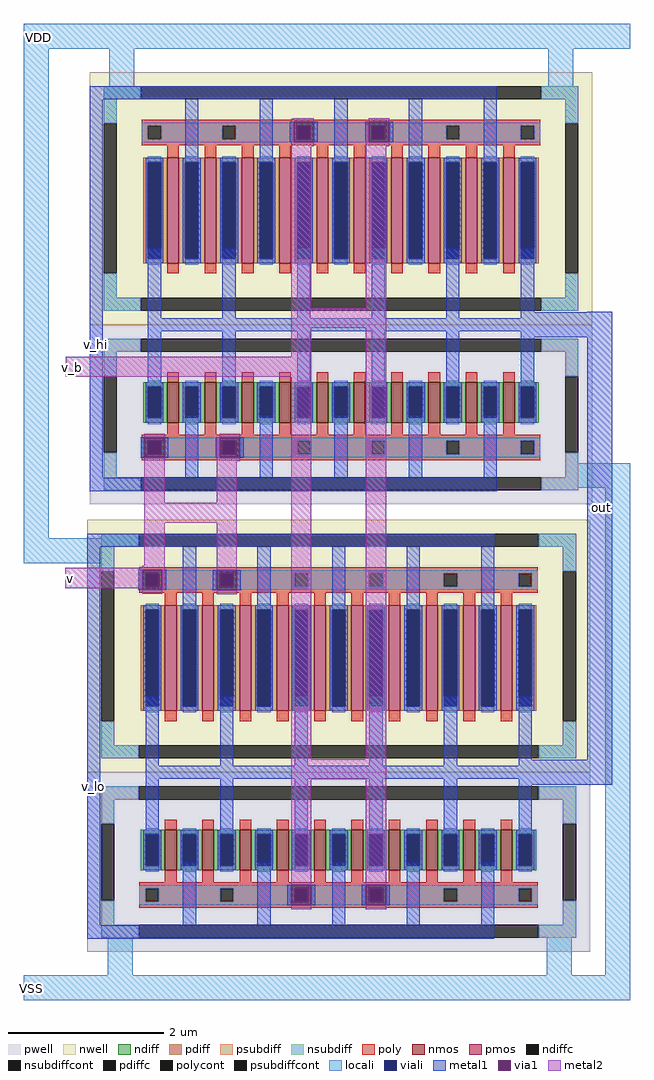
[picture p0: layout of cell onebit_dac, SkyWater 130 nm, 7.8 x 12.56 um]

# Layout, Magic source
magic
tech sky130A
magscale 1 2
<< locali >>
rect -6 1174 1554 1238
rect -6 -86 58 1174
rect 214 1056 278 1174
rect 1344 1048 1408 1174
rect 1390 44 1554 108
rect -6 -150 210 -86
rect 210 -1210 274 -1100
rect 1340 -1210 1404 -1090
rect 1490 -1210 1554 44
rect -6 -1274 1554 -1210
<< viali >>
rect 697 942 731 976
rect 889 942 923 976
rect 313 131 347 165
rect 505 131 539 165
rect 307 -210 341 -176
rect 499 -210 533 -176
rect 691 -1021 725 -987
rect 883 -1021 917 -987
<< metal1 >>
rect 163 36 197 1078
rect 678 934 688 986
rect 740 934 750 986
rect 872 934 882 986
rect 934 934 944 986
rect 1444 496 1508 498
rect 1292 432 1508 496
rect 294 122 304 174
rect 356 122 366 174
rect 488 122 498 174
rect 550 122 560 174
rect 157 -1116 191 -74
rect 288 -218 298 -166
rect 350 -218 360 -166
rect 480 -220 490 -168
rect 542 -220 552 -168
rect 1444 -656 1508 432
rect 1280 -720 1508 -656
rect 672 -1030 682 -978
rect 734 -1030 744 -978
rect 864 -1030 874 -978
rect 926 -1030 936 -978
<< via1 >>
rect 688 976 740 986
rect 688 942 697 976
rect 697 942 731 976
rect 731 942 740 976
rect 688 934 740 942
rect 882 976 934 986
rect 882 942 889 976
rect 889 942 923 976
rect 923 942 934 976
rect 882 934 934 942
rect 304 165 356 174
rect 304 131 313 165
rect 313 131 347 165
rect 347 131 356 165
rect 304 122 356 131
rect 498 165 550 174
rect 498 131 505 165
rect 505 131 539 165
rect 539 131 550 165
rect 498 122 550 131
rect 298 -176 350 -166
rect 298 -210 307 -176
rect 307 -210 341 -176
rect 341 -210 350 -176
rect 298 -218 350 -210
rect 490 -176 542 -168
rect 490 -210 499 -176
rect 499 -210 533 -176
rect 533 -210 542 -176
rect 490 -220 542 -210
rect 682 -987 734 -978
rect 682 -1021 691 -987
rect 691 -1021 725 -987
rect 725 -1021 734 -987
rect 682 -1030 734 -1021
rect 874 -987 926 -978
rect 874 -1021 883 -987
rect 883 -1021 917 -987
rect 917 -1021 926 -987
rect 874 -1030 926 -1021
<< metal2 >>
rect 688 994 740 996
rect 682 986 740 994
rect 682 934 688 986
rect 882 986 934 996
rect 682 924 740 934
rect 874 934 882 980
rect 874 924 934 934
rect 682 508 734 924
rect 874 508 926 924
rect 682 456 926 508
rect 682 382 734 456
rect 102 330 734 382
rect 304 174 356 184
rect 498 174 550 184
rect 304 6 356 122
rect 490 122 498 174
rect 490 112 550 122
rect 490 6 542 112
rect 304 -46 542 6
rect 304 -156 356 -46
rect 298 -162 356 -156
rect 100 -166 356 -162
rect 100 -214 298 -166
rect 350 -218 356 -166
rect 490 -168 542 -46
rect 298 -228 350 -218
rect 490 -230 542 -220
rect 682 -654 734 330
rect 874 -654 926 456
rect 682 -706 926 -654
rect 682 -978 734 -706
rect 682 -1040 734 -1030
rect 874 -978 926 -706
rect 874 -1040 926 -1030
use transmission_gate  transmission_gate_0 ~/ee372/incremental_delta_sigma_adc/design/analog_modulator/layout_v2/transmission_gate
transform 1 0 216 0 1 51
box -53 -49 1241 1063
use transmission_gate  transmission_gate_1
transform 1 0 210 0 1 -1101
box -53 -49 1241 1063
<< labels >>
flabel metal1 178 412 178 412 1 FreeSans 400 0 0 0 v_hi
port 1 n
flabel metal1 174 -724 174 -724 1 FreeSans 400 0 0 0 v_lo
port 2 n
flabel metal2 120 354 120 354 1 FreeSans 400 0 0 0 v_b
port 4 n
flabel metal2 114 -188 114 -188 1 FreeSans 400 0 0 0 v
port 3 n
flabel metal1 1480 -6 1480 -6 1 FreeSans 400 0 0 0 out
port 5 n
flabel locali 32 1202 32 1202 1 FreeSans 400 0 0 0 VDD
port 6 n power bidirectional
flabel locali 14 -1244 14 -1244 1 FreeSans 400 0 0 0 VSS
port 7 n ground bidirectional
<< end >>

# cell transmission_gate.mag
magic
tech sky130A
magscale 1 2
<< locali >>
rect 1171 993 1205 1027
rect 81 883 97 933
rect 81 72 97 122
rect 1171 -13 1205 19
<< metal1 >>
rect -53 993 995 1027
rect -53 19 -19 993
rect 193 832 227 993
rect 385 832 419 993
rect 577 832 611 993
rect 769 832 803 993
rect 961 832 995 993
rect 97 430 131 608
rect 289 430 323 608
rect 481 430 515 608
rect 673 430 707 608
rect 865 430 899 608
rect 1057 430 1091 608
rect 97 396 1091 430
rect 97 253 131 396
rect 289 253 323 396
rect 481 253 515 396
rect 673 253 707 396
rect 865 253 899 396
rect 1057 253 1091 396
rect 193 19 227 180
rect 385 19 419 180
rect 577 19 611 180
rect 769 19 803 180
rect 961 19 995 180
rect -53 -15 995 19
use nmos_tgate  nmos_tgate_0
transform 1 0 593 0 1 213
box -646 -262 648 200
use pmos_tgate  pmos_tgate_0
transform -1 0 595 0 -1 707
box -646 -356 648 294
<< labels >>
flabel locali 1188 2 1188 2 1 FreeSans 400 0 0 0 VSS
port 6 n ground bidirectional
flabel locali 1188 1010 1188 1010 1 FreeSans 400 0 0 0 VDD
port 5 n power bidirectional
flabel metal1 -34 410 -34 410 1 FreeSans 400 0 0 0 in
port 1 n
flabel metal1 1074 412 1074 412 1 FreeSans 400 0 0 0 out
port 2 n
flabel locali 88 98 88 98 1 FreeSans 400 0 0 0 en
port 3 n
flabel locali 88 910 88 910 1 FreeSans 400 0 0 0 en_b
port 4 n
<< end >>

# cell nmos_tgate: kit device sky130_fd_pr__nfet_01v8, w 0.53 l 0.150 m 1 nf 10 diffcov 100 polycov 100 guard 1 glc 1 grc 1 gtc 1 gbc 1 tbcov 100 rlcov 100 topc 1 botc 1 poverlap 0 doverlap 1 lmin 0.15 wmin 0.42 compatible {sky130_fd_pr__nfet_01v8 sky130_fd_pr__nfet_01v8_lvt sky130_fd_bs_flash__special_sonosfet_star sky130_fd_pr__nfet_g5v0d10v5 sky130_fd_pr__nfet_05v0_nvt sky130_fd_pr__nfet_03v3_nvt} full_metal 1 viasrc 100 viadrn 100 viagate 100 viagb 0 viagr 0 viagl 0 viagt 0

# cell pmos_tgate: kit device sky130_fd_pr__pfet_01v8, w 1.37 l 0.15 m 1 nf 10 diffcov 100 polycov 100 guard 1 glc 1 grc 1 gtc 1 gbc 1 tbcov 100 rlcov 100 topc 1 botc 1 poverlap 0 doverlap 1 lmin 0.15 wmin 0.42 compatible {sky130_fd_pr__pfet_01v8 sky130_fd_pr__pfet_01v8_lvt sky130_fd_pr__pfet_01v8_hvt sky130_fd_pr__pfet_g5v0d10v5} full_metal 1 viasrc 100 viadrn 100 viagate 100 viagb 0 viagr 0 viagl 0 viagt 0
